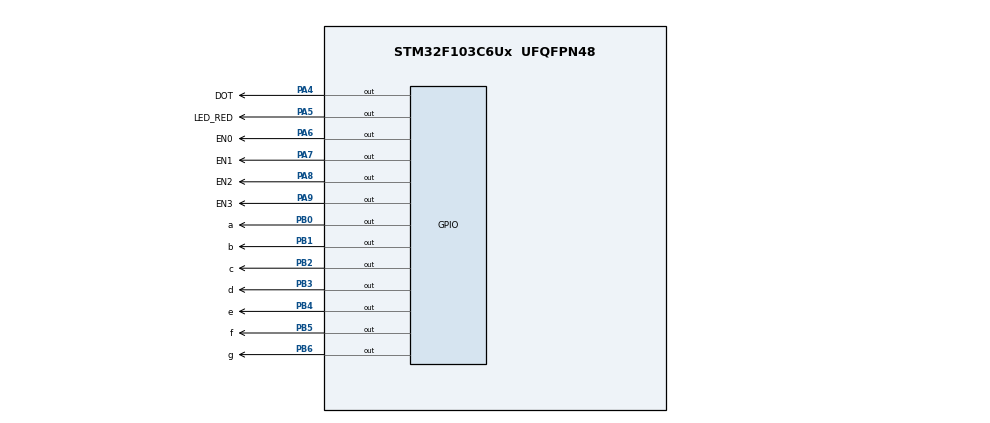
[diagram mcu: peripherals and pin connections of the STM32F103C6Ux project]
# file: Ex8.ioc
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Mcu.Family=STM32F1
Mcu.Name=STM32F103C6Ux
Mcu.Package=UFQFPN48
NVIC.PriorityGroup=NVIC_PRIORITYGROUP_4
NVIC.TIM2_IRQn=true\:0\:0\:false\:false\:true\:true\:true
PA4.GPIO_Label=DOT
PA4.Signal=GPIO_Output
PA5.GPIO_Label=LED_RED
PA5.Signal=GPIO_Output
PA6.GPIO_Label=EN0
PA6.Signal=GPIO_Output
PA7.GPIO_Label=EN1
PA7.Signal=GPIO_Output
PA8.GPIO_Label=EN2
PA8.Signal=GPIO_Output
PA9.GPIO_Label=EN3
PA9.Signal=GPIO_Output
PB0.GPIO_Label=a
PB0.Signal=GPIO_Output
PB1.GPIO_Label=b
PB1.Signal=GPIO_Output
PB2.GPIO_Label=c
PB2.Signal=GPIO_Output
PB3.GPIO_Label=d
PB3.Signal=GPIO_Output
PB4.GPIO_Label=e
PB4.Signal=GPIO_Output
PB5.GPIO_Label=f
PB5.Signal=GPIO_Output
PB6.GPIO_Label=g
PB6.Signal=GPIO_Output
ProjectManager.HeapSize=0x200
ProjectManager.StackSize=0x400
ProjectManager.TargetToolchain=STM32CubeIDE
RCC.APB1Freq_Value=8000000
RCC.APB2Freq_Value=8000000
TIM2.Period=9
TIM2.Prescaler=7999
VP_SYS_VS_ND.Mode=No_Debug
VP_TIM2_VS_ClockSourceINT.Mode=Internal
board=custom

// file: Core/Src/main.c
/* USER CODE BEGIN Header */
/**
  ******************************************************************************
  * @file           : main.c
  * @brief          : Main program body
  ******************************************************************************
  * @attention
  *
  * <h2><center>&copy; Copyright (c) 2026 STMicroelectronics.
  * All rights reserved.</center></h2>
  *
  * This software component is licensed by ST under BSD 3-Clause license,
  * the "License"; You may not use this file except in compliance with the
  * License. You may obtain a copy of the License at:
  *                        opensource.org/licenses/BSD-3-Clause
  *
  ******************************************************************************
  */
/* USER CODE END Header */
#include "main.h"

TIM_HandleTypeDef htim2;

void SystemClock_Config(void);
static void MX_GPIO_Init(void);
static void MX_TIM2_Init(void);

/* USER CODE BEGIN 0 */
int hour = 15, minute = 8, second = 50;
int timer0_counter=0;
int timer1_counter=0;
int timer0_flag=0;
int timer1_flag=0;
int TIME_CYCLE=10;
const int MAX_LED = 4;
int index_led = 0;
int led_buffer[4] = {1, 2, 3, 4};
void display7SEG(int num) {
  	  //array
        static uint8_t seg7[10][7] = {
          // a  b  c  d  e  f  g
            {0, 0, 0, 0, 0, 0, 1}, // 0
            {1, 0, 0, 1, 1, 1, 1}, // 1
            {0, 0, 1, 0, 0, 1, 0}, // 2
            {0, 0, 0, 0, 1, 1, 0}, // 3
            {1, 0, 0, 1, 1, 0, 0}, // 4
            {0, 1, 0, 0, 1, 0, 0}, // 5
            {0, 1, 0, 0, 0, 0, 0}, // 6
            {0, 0, 0, 1, 1, 1, 1}, // 7
            {0, 0, 0, 0, 0, 0, 0}, // 8
            {0, 0, 0, 0, 1, 0, 0}  // 9
        };

        HAL_GPIO_WritePin(GPIOB, a_Pin, seg7[num][0]); // a
        HAL_GPIO_WritePin(GPIOB, b_Pin, seg7[num][1]); // b
        HAL_GPIO_WritePin(GPIOB, c_Pin, seg7[num][2]); // c
        HAL_GPIO_WritePin(GPIOB, d_Pin, seg7[num][3]); // d
        HAL_GPIO_WritePin(GPIOB, e_Pin, seg7[num][4]); // e
        HAL_GPIO_WritePin(GPIOB, f_Pin, seg7[num][5]); // f
        HAL_GPIO_WritePin(GPIOB, g_Pin, seg7[num][6]); // g
    }
void update7SEG (int index) {
    switch (index) {
        case 0:
            HAL_GPIO_WritePin(GPIOA, EN1_Pin|EN2_Pin|EN3_Pin, GPIO_PIN_SET);
            display7SEG(led_buffer[0]);
            HAL_GPIO_WritePin(GPIOA, EN0_Pin, GPIO_PIN_RESET);
            break;
        case 1:
            HAL_GPIO_WritePin(GPIOA, EN0_Pin|EN2_Pin|EN3_Pin, GPIO_PIN_SET);
            display7SEG(led_buffer[1]);
            HAL_GPIO_WritePin(GPIOA, EN1_Pin, GPIO_PIN_RESET);
            break;
        case 2:
            HAL_GPIO_WritePin(GPIOA, EN0_Pin|EN1_Pin|EN3_Pin, GPIO_PIN_SET);
            display7SEG(led_buffer[2]);
            HAL_GPIO_WritePin(GPIOA, EN2_Pin, GPIO_PIN_RESET);
            break;
        case 3:
            HAL_GPIO_WritePin(GPIOA, EN0_Pin|EN1_Pin|EN2_Pin, GPIO_PIN_SET);
            display7SEG(led_buffer[3]);
            HAL_GPIO_WritePin(GPIOA, EN3_Pin, GPIO_PIN_RESET);
            break;
        default:
            break;
    }
}

void setTimer0(int duration) {
    timer0_counter = duration / TIME_CYCLE;
    timer0_flag = 0;
}
void setTimer1(int duration){
	timer1_counter = duration / TIME_CYCLE;
	timer1_flag = 0;
}
void timer_run() {
    if (timer0_counter > 0) {
        timer0_counter--;
        if (timer0_counter == 0) {
            timer0_flag = 1;
        }
    }
    if(timer1_counter > 0){
    	timer1_counter--;
    	if (timer1_counter == 0){
    		timer1_flag=1;
    	}
    }
}

void updateClockBuffer(){
	//hour
	led_buffer[0]=hour/10;
	led_buffer[1]=hour%10;
	//minute
	led_buffer[2]=minute/10;
	led_buffer[3]=minute%10;
}

/* USER CODE END 0 */

int main(void)
{

  /* MCU Configuration--------------------------------------------------------*/

  /* Reset of all peripherals, Initializes the Flash interface and the Systick. */
  HAL_Init();

  /* Configure the system clock */
  SystemClock_Config();

  /* Initialize all configured peripherals */
  MX_GPIO_Init();
  MX_TIM2_Init();
  /* USER CODE BEGIN 2 */
  HAL_TIM_Base_Start_IT(&htim2);
  updateClockBuffer();

  /* USER CODE END 2 */

  /* Infinite loop */
  /* USER CODE BEGIN WHILE */
  setTimer0 (1000);
  setTimer1 (250);
  while (1)
  {
    /* USER CODE END WHILE */
	  if( timer0_flag == 1){
		  HAL_GPIO_TogglePin(GPIOA, DOT_Pin);
		  second++;
		  if(second>=60){
			  second=0;
			  minute++;
		  }
		  if(minute>=60){
			  minute=0;
			  hour++;
		  }
		  if(hour>=24){
			  hour=0;
		  }
		  updateClockBuffer();
		  setTimer0 (1000) ;
	  }
	  if(timer1_flag == 1){
		  update7SEG(index_led);
		  index_led++;
		  if(index_led >= MAX_LED){
			  index_led = 0;
		  }
		  setTimer1(250);
	  }

  }
}

void SystemClock_Config(void)
{
  RCC_OscInitTypeDef RCC_OscInitStruct = {0};
  RCC_ClkInitTypeDef RCC_ClkInitStruct = {0};

  /** Initializes the RCC Oscillators according to the specified parameters
  * in the RCC_OscInitTypeDef structure.
  */
  RCC_OscInitStruct.OscillatorType = RCC_OSCILLATORTYPE_HSI;
  RCC_OscInitStruct.HSIState = RCC_HSI_ON;
  RCC_OscInitStruct.HSICalibrationValue = RCC_HSICALIBRATION_DEFAULT;
  RCC_OscInitStruct.PLL.PLLState = RCC_PLL_NONE;
  if (HAL_RCC_OscConfig(&RCC_OscInitStruct) != HAL_OK)
  {
    Error_Handler();
  }
  /** Initializes the CPU, AHB and APB buses clocks
  */
  RCC_ClkInitStruct.ClockType = RCC_CLOCKTYPE_HCLK|RCC_CLOCKTYPE_SYSCLK
                              |RCC_CLOCKTYPE_PCLK1|RCC_CLOCKTYPE_PCLK2;
  RCC_ClkInitStruct.SYSCLKSource = RCC_SYSCLKSOURCE_HSI;
  RCC_ClkInitStruct.AHBCLKDivider = RCC_SYSCLK_DIV1;
  RCC_ClkInitStruct.APB1CLKDivider = RCC_HCLK_DIV1;
  RCC_ClkInitStruct.APB2CLKDivider = RCC_HCLK_DIV1;

  if (HAL_RCC_ClockConfig(&RCC_ClkInitStruct, FLASH_LATENCY_0) != HAL_OK)
  {
    Error_Handler();
  }
}

static void MX_TIM2_Init(void)
{

  TIM_ClockConfigTypeDef sClockSourceConfig = {0};
  TIM_MasterConfigTypeDef sMasterConfig = {0};

  htim2.Instance = TIM2;
  htim2.Init.Prescaler = 7999;
  htim2.Init.CounterMode = TIM_COUNTERMODE_UP;
  htim2.Init.Period = 9;
  htim2.Init.ClockDivision = TIM_CLOCKDIVISION_DIV1;
  htim2.Init.AutoReloadPreload = TIM_AUTORELOAD_PRELOAD_DISABLE;
  if (HAL_TIM_Base_Init(&htim2) != HAL_OK)
  {
    Error_Handler();
  }
  sClockSourceConfig.ClockSource = TIM_CLOCKSOURCE_INTERNAL;
  if (HAL_TIM_ConfigClockSource(&htim2, &sClockSourceConfig) != HAL_OK)
  {
    Error_Handler();
  }
  sMasterConfig.MasterOutputTrigger = TIM_TRGO_RESET;
  sMasterConfig.MasterSlaveMode = TIM_MASTERSLAVEMODE_DISABLE;
  if (HAL_TIMEx_MasterConfigSynchronization(&htim2, &sMasterConfig) != HAL_OK)
  {
    Error_Handler();
  }

}

static void MX_GPIO_Init(void)
{
  GPIO_InitTypeDef GPIO_InitStruct = {0};

  /* GPIO Ports Clock Enable */
  __HAL_RCC_GPIOA_CLK_ENABLE();
  __HAL_RCC_GPIOB_CLK_ENABLE();

  /*Configure GPIO pin Output Level */
  HAL_GPIO_WritePin(GPIOA, DOT_Pin|LED_RED_Pin|EN0_Pin|EN1_Pin
                          |EN2_Pin|EN3_Pin, GPIO_PIN_RESET);

  /*Configure GPIO pin Output Level */
  HAL_GPIO_WritePin(GPIOB, a_Pin|b_Pin|c_Pin|d_Pin
                          |e_Pin|f_Pin|g_Pin, GPIO_PIN_RESET);

  /*Configure GPIO pins : DOT_Pin LED_RED_Pin EN0_Pin EN1_Pin
                           EN2_Pin EN3_Pin */
  GPIO_InitStruct.Pin = DOT_Pin|LED_RED_Pin|EN0_Pin|EN1_Pin
                          |EN2_Pin|EN3_Pin;
  GPIO_InitStruct.Mode = GPIO_MODE_OUTPUT_PP;
  GPIO_InitStruct.Pull = GPIO_NOPULL;
  GPIO_InitStruct.Speed = GPIO_SPEED_FREQ_LOW;
  HAL_GPIO_Init(GPIOA, &GPIO_InitStruct);

  /*Configure GPIO pins : a_Pin b_Pin c_Pin d_Pin
                           e_Pin f_Pin g_Pin */
  GPIO_InitStruct.Pin = a_Pin|b_Pin|c_Pin|d_Pin
                          |e_Pin|f_Pin|g_Pin;
  GPIO_InitStruct.Mode = GPIO_MODE_OUTPUT_PP;
  GPIO_InitStruct.Pull = GPIO_NOPULL;
  GPIO_InitStruct.Speed = GPIO_SPEED_FREQ_LOW;
  HAL_GPIO_Init(GPIOB, &GPIO_InitStruct);

}

/* USER CODE BEGIN 4 */
void HAL_TIM_PeriodElapsedCallback(TIM_HandleTypeDef *htim) {
	timer_run();
}

/* USER CODE END 4 */

void Error_Handler(void)
{
  __disable_irq();
  while (1)
  {
  }
}

/************************ (C) COPYRIGHT STMicroelectronics *****END OF FILE****/
